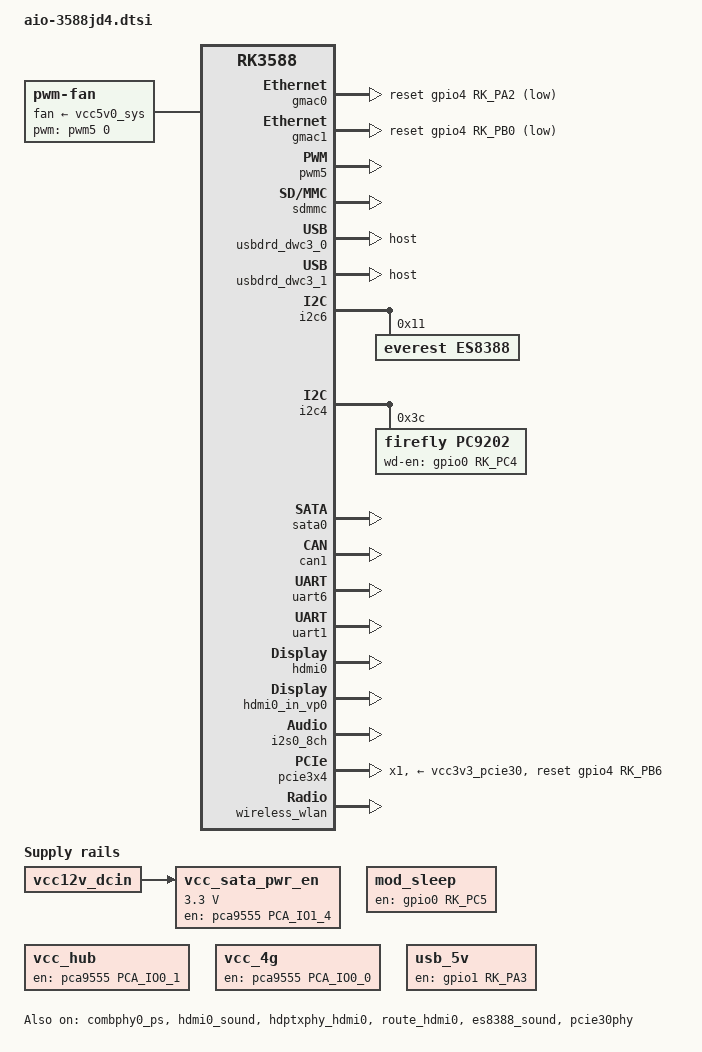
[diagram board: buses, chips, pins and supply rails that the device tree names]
// SPDX-License-Identifier: (GPL-2.0+ OR MIT)
/*
 * Copyright (c) 2021 Rockchip Electronics Co., Ltd.
 *
 */

 #define rk3588
 #include "rk3588-firefly-port-aio-3588jd4.dtsi"
 #include "rk3588-diff-aio-3588jd4.dtsi"


#define M2_SATA_OR_PCIE	1 /*1 = SATA , 0 = PCIe */

 / {
/* led */
	firefly_leds: leds {
		power_led: power {
			status = "disabled";

			gpios = <&gpio0 RK_PC5 GPIO_ACTIVE_HIGH>;//green led
            default-state = "on";
		};

		user_led: user {
			gpios = <&pca9555 PCA_IO0_3 GPIO_ACTIVE_HIGH>; //yellow led
            default-state = "off";
		};
	};

    fan: pwm-fan {
		compatible = "pwm-fan";
		#cooling-cells = <2>;
		fan-supply = <&vcc5v0_sys>;
		pwms = <&pwm5 0 50000 0>;
		cooling-levels = <50 50 100 150 200 255>;
        rockchip,temp-trips = <
            50000   1
            55000   2
            60000   3
            65000   4
            70000   5
        >;
	};
   
    mod_sleep: mod-sleep-regulator {
            compatible = "regulator-fixed";
            regulator-name = "mod_sleep";
            regulator-boot-on;
            regulator-always-on;
            enable-active-high;
            status = "okay";
	    gpio = <&gpio0 RK_PC5 GPIO_ACTIVE_HIGH>;//green led
	    pinctrl-names = "default";
	    pinctrl-0 =<&leds_gpio>;
		regulator-state-mem {
			regulator-on-in-suspend;
		};
    };

    vcc_hub: vcc-hub-regulator {
            compatible = "regulator-fixed";
            regulator-name = "vcc_hub";
            regulator-boot-on;
            regulator-always-on;
            enable-active-high;
            status = "okay";
            gpio = <&pca9555 PCA_IO0_1 GPIO_ACTIVE_HIGH>;
    };

	vcc_4g: vcc-4g-regulator {
            compatible = "regulator-fixed";
            regulator-name = "vcc_4g";
            regulator-boot-on;
            regulator-always-on;
            enable-active-high;
            status = "okay";
            gpio = <&pca9555 PCA_IO0_0 GPIO_ACTIVE_HIGH>;
    };

    usb_5v: usb-5v {
       	compatible = "regulator-fixed";
            regulator-name = "usb_5v";
            regulator-boot-on;
            regulator-always-on;
            enable-active-high;
            status = "okay";
            gpio = <&gpio1 RK_PA3 GPIO_ACTIVE_HIGH>;
	    pinctrl-names = "default";
	    pinctrl-0 =<&usb_5v_ctrl>;
    };
};

/* gamc0 */
&gmac0 {
	snps,reset-gpio = <&gpio4 RK_PA2 GPIO_ACTIVE_LOW>;
	tx_delay = <0x31>;
	status = "okay";
};

&gmac0_tx_bus2{
    rockchip,pins =
    /* gmac0_txd0 */
    <2 RK_PB6 1 &pcfg_pull_up_drv_level_6>,
    /* gmac0_txd1 */
    <2 RK_PB7 1 &pcfg_pull_up_drv_level_6>,
    /* gmac0_txen */
    <2 RK_PC0 1 &pcfg_pull_none>;
};

&gmac0_rgmii_bus{
	rockchip,pins =
	/* gmac0_rxd2 */
	<2 RK_PA6 1 &pcfg_pull_none>,
	/* gmac0_rxd3 */
	<2 RK_PA7 1 &pcfg_pull_none>,
	/* gmac0_txd2 */
	<2 RK_PB1 1 &pcfg_pull_up_drv_level_6>,
	/* gmac0_txd3 */
	<2 RK_PB2 1 &pcfg_pull_up_drv_level_6>;
};

/* gmac1 */
&gmac1 {
	snps,reset-gpio = <&gpio4 RK_PB0 GPIO_ACTIVE_LOW>;
	tx_delay = <0x40>;
	status = "okay";
};

&gmac1_tx_bus2{
	rockchip,pins =
	/* gmac1_txd0 */
	<3 RK_PB3 1 &pcfg_pull_up_drv_level_6>,
    /* gmac1_txd1 */
	<3 RK_PB4 1 &pcfg_pull_up_drv_level_6>,
	/* gmac1_txen */
	<3 RK_PB5 1 &pcfg_pull_none>;
};

&gmac1_rgmii_bus{
	rockchip,pins =
	/* gmac1_rxd2 */
	<3 RK_PA2 1 &pcfg_pull_none>,
	/* gmac1_rxd3 */
	<3 RK_PA3 1 &pcfg_pull_none>,
	/* gmac1_txd2 */
	<3 RK_PA0 1 &pcfg_pull_up_drv_level_6>,
	/* gmac1_txd3 */
	<3 RK_PA1 1 &pcfg_pull_up_drv_level_6>;
};


&pwm5 {
	pinctrl-0 = <&pwm5m1_pins>;
	status = "okay";
};


/* tf-card */
&sdmmc {
	status = "okay";
};

&vcc_sdcard_pwr_en{
	gpio = <&gpio1 RK_PA7 GPIO_ACTIVE_HIGH>;
	status = "okay";
};

/* usb */
&vcc5v0_host{
	status = "okay";
	gpio = <&pca9555 PCA_IO0_2 GPIO_ACTIVE_HIGH>;
};


//down
&usbdrd_dwc3_0{
	dr_mode = "host";
	//dr_mode = "peripheral";
    status = "okay";
};

//down
&usbdrd_dwc3_1{
	dr_mode = "host";
    status = "okay";
};

/* XL9555*/

&i2c6 {
	/delete-node/ pca9555;
};

/* wdt on mb */
&i2c4 {
	status = "okay";
	pinctrl-0 = <&i2c4m1_xfer>;
	pc9202@3c {
		status = "okay";
		compatible = "firefly,pc9202";
		reg = <0x3c>;
		index = <1>;
		pinctrl-names = "default";
		pinctrl-0 = <&wdt_en_base>;

		wd-en-gpio = <&gpio0 RK_PC4 GPIO_ACTIVE_HIGH>;
		driver-names = "wdt_base";
	};
};

#if M2_SATA_OR_PCIE
&sata0 {
    //pinctrl-names = "default";
    //pinctrl-0 = <&sata_reset>;
	status = "okay";
};
#else
&pcie2x1l2 {
	reset-gpios = <&gpio4 RK_PA3 GPIO_ACTIVE_HIGH>;
	vpcie3v3-supply = <&vcc_sata_pwr_en>;
	status = "okay";
};
#endif

&vcc_sata_pwr_en{
	status = "okay";
	gpio = <&pca9555 PCA_IO1_4 GPIO_ACTIVE_HIGH>;  //PCA_IO 14
	regulator-min-microvolt = <3300000>;
	regulator-max-microvolt = <3300000>;
	regulator-always-on;
	enable-active-high;
	startup-delay-us = <5000>;
	vin-supply = <&vcc12v_dcin>;
};

&combphy0_ps{
	status = "okay";
};

/* can1 */
&can1 {
	status = "okay";
	assigned-clocks = <&cru CLK_CAN1>;
	assigned-clock-rates = <200000000>;
	pinctrl-names = "default";
	pinctrl-0 = <&can1m1_pins>;
};

/* RS485 */
&uart6{
	pinctrl-0 = <&uart6m1_xfer>;
	status = "okay";
};

/* RS232 */
&uart1{
	pinctrl-0 = <&uart1m1_xfer>;
	status = "okay";
};


/* hdmi0 */
&hdmi0 {
    enable-gpios = <&gpio1 RK_PB0 GPIO_ACTIVE_HIGH>;
    status = "okay";
};


&hdmi0_sound {
	status = "okay";
};

&hdmi0_in_vp0 {
        status = "okay";
};

&hdptxphy_hdmi0 {
	status = "okay";
};

&route_hdmi0{
	status = "okay";
	connect = <&vp0_out_hdmi0>;
};

/* es8323 audio codec */

&i2c6 {
		status = "okay";
		es8388: es8388@11 {
			status = "okay";
			#sound-dai-cells = <0>;
			compatible = "everest,es8388", "everest,es8323";
			reg = <0x11>;
			clocks = <&mclkout_i2s0>;
			clock-names = "mclk";
			assigned-clocks = <&mclkout_i2s0>;
			assigned-clock-rates = <12288000>;
			pinctrl-names = "default";
			pinctrl-0 = <&i2s0_mclk>;
 	};
};

&es8388_sound{
	status = "okay";
	firefly,not-use-dapm;
	/delete-property/ spk-con-gpio;
	hp-det-gpio = <&gpio2 RK_PC3 GPIO_ACTIVE_HIGH>;
	hp-con-gpio = <&pca9555 PCA_IO1_3 GPIO_ACTIVE_HIGH>;  //PCA_IO 13
	pinctrl-names = "default";
	pinctrl-0 = <&hp_det>;
        /delete-property/ io-channels;
        /delete-property/ io-channel-names;
        rockchip,audio-routing =
                        "Headphone", "LOUT1",
                        "Headphone", "ROUT1",
                        "Speaker", "LOUT2",
                        "Speaker", "ROUT2",
                        "Headphone", "Headphone Power",
                        "Headphone", "Headphone Power",
                        "LINPUT2", "Main Mic",
                        "RINPUT2", "Main Mic",
                        "LINPUT1", "Headset Mic",
                        "RINPUT1", "Headset Mic";
        linein-type = <1>;
        pinctrl-names = "default";

};

&i2s0_8ch{
	status = "okay";
};



/* wifi*/

&pcie30phy {
	status = "okay";
};


&pcie3x4 {
	num-lanes = <1>;
	reset-gpios = <&gpio4 RK_PB6 GPIO_ACTIVE_HIGH>;
	vpcie3v3-supply = <&vcc3v3_pcie30>;
	status = "okay";
};

&vcc3v3_pcie30{
	gpios = <&pca9555 PCA_IO0_4 GPIO_ACTIVE_HIGH>;
	startup-delay-us = <5000>;
	status = "okay";
};

&wireless_wlan{
        wifi_chip_type = "rtl8822ce";
		/delete-property/ WIFI,poweren_gpio;
		WIFI,host_wake_irq = <&pca9555 PCA_IO1_2 GPIO_ACTIVE_HIGH>;
        status = "okay";
};

//debug 115200
&fiq_debugger{
	rockchip,baudrate = <115200>;  /* Only 115200 and 1500000 */
};

/* pinctrl */
&pinctrl {

    leds {
		leds_gpio: leds-gpio {
			/* led_power */
			rockchip,pins = <0 RK_PC5 RK_FUNC_GPIO &pcfg_pull_none>;
		};
 	};


	headphone {
		hp_det: hp-det {
			rockchip,pins = <2 RK_PC3 RK_FUNC_GPIO &pcfg_pull_none>;
		};
	};

	usb-typec {
		usb_5v_ctrl: usb-5v-ctrl {
			rockchip,pins = <1 RK_PA3 RK_FUNC_GPIO &pcfg_pull_none>;
		};

		usbc0_int: usbc0-int {
			rockchip,pins = <0 RK_PD3 RK_FUNC_GPIO &pcfg_pull_none>;
		};
	};

	hdmirx {
		hdmirx_det: hdmirx-det {
			rockchip,pins = <1 RK_PD5 RK_FUNC_GPIO &pcfg_pull_none>;
		};
	};

	wireless-bluetooth {
		uart6_gpios: uart6-gpios {
			rockchip,pins = <1 RK_PA2 RK_FUNC_GPIO &pcfg_pull_none>;
		};

		bt_reset_gpio: bt-reset-gpio {
			rockchip,pins = <0 RK_PC6 RK_FUNC_GPIO &pcfg_pull_none>;
		};

		bt_wake_gpio: bt-wake-gpio {
			rockchip,pins = <0 RK_PC5 RK_FUNC_GPIO &pcfg_pull_none>;
		};

		bt_irq_gpio: bt-irq-gpio {
			rockchip,pins = <0 RK_PA0 RK_FUNC_GPIO &pcfg_pull_none>;
		};
	};

	wireless-wlan {
		wifi_host_wake_irq: wifi-host-wake-irq {
			rockchip,pins = <0 RK_PB2 RK_FUNC_GPIO &pcfg_pull_none>;
		};

		};

	wdt-pc9202 {
		
		wdt_en_base: wdt-en-base {
			rockchip,pins = <0 RK_PC4 RK_FUNC_GPIO &pcfg_pull_none>;
		};

	};

	sata {
		sata_reset:sata-reset{
			rockchip,pins = <4 RK_PC1 RK_FUNC_GPIO &pcfg_pull_none>;
		};
	};

};
